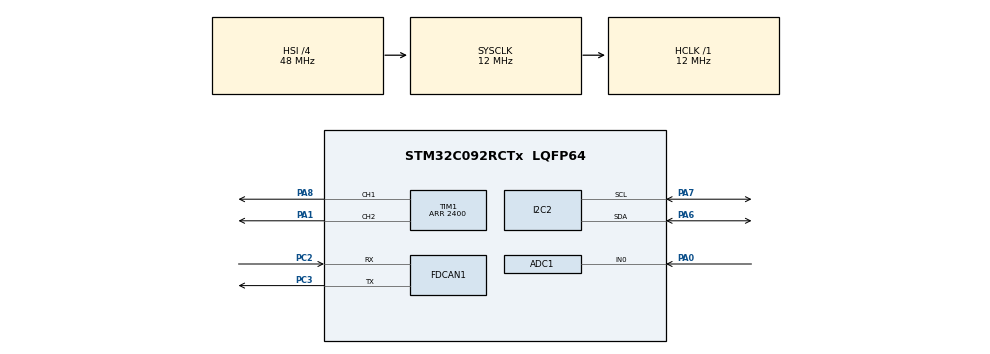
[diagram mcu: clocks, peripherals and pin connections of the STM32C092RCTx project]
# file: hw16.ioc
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ADC1.NbrOfConversionFlag=0
ADC1.SelectedChannel=ADC_CHANNEL_0
ADC1.master=1
FDCAN1.CalculateBaudRateNominal=250000
FDCAN1.CalculateTimeBitNominal=4000
FDCAN1.CalculateTimeQuantumNominal=1333.3333333333333
I2C2.Timing=0x00402D41
Mcu.Family=STM32C0
Mcu.Name=STM32C092RCTx
Mcu.Package=LQFP64
NUCLEO-C092RC.BUTTON=1
NUCLEO-C092RC.LD1=true
NUCLEO-C092RC.LD2=true
NUCLEO-C092RC.VCP=true
NVIC.EXTI4_15_IRQn=true\:0\:0\:false\:false\:true\:false\:true\:true
NVIC.TIM2_IRQn=true\:0\:0\:false\:false\:true\:true\:true\:true
PA0.Mode=IN0
PA0.Signal=ADC1_IN0
PA1.Signal=S_TIM1_CH2
PA13.GPIO_Label=SWDIO
PA13.Signal=DEBUG_SWDIO
PA14-BOOT0.GPIO_Label=SWCLK
PA14-BOOT0.Signal=DEBUG_SWCLK
PA2.Signal=USART2_TX
PA3.Signal=USART2_RX
PA6.Mode=I2C
PA6.Signal=I2C2_SDA
PA7.Mode=I2C
PA7.Signal=I2C2_SCL
PA8.Signal=S_TIM1_CH1
PC14-OSCX_IN(PC14).GPIO_Label=OSCX_IN
PC14-OSCX_IN(PC14).Signal=RCC_OSCX_IN
PC15-OSCX_OUT(PC15).GPIO_Label=OSCX_OUT
PC15-OSCX_OUT(PC15).Signal=RCC_OSCX_OUT
PC2.Mode=FDCAN_Activate
PC2.Signal=FDCAN1_RX
PC3.Mode=FDCAN_Activate
PC3.Signal=FDCAN1_TX
PF0-OSC_IN(PF0).GPIO_Label=OSC_IN
PF0-OSC_IN(PF0).Signal=RCC_OSC_IN
PF1-OSC_OUT(PF1).GPIO_Label=OSC_OUT
PF1-OSC_OUT(PF1).Signal=RCC_OSC_OUT
ProjectManager.HeapSize=0x200
ProjectManager.StackSize=0x400
ProjectManager.TargetToolchain=STM32CubeIDE
RCC.ADCFreq_Value=12000000
RCC.AHBFreq_Value=12000000
RCC.CortexFreq_Value=12000000
RCC.EXTERNAL_CLOCK_VALUE=12288000
RCC.HCLKFreq_Value=12000000
RCC.HSE_VALUE=8000000
RCC.HSI_VALUE=48000000
RCC.LSE_VALUE=32768
RCC.SYSCLKFreq_VALUE=12000000
SH.S_TIM1_CH1.0=TIM1_CH1,PWM Generation1 CH1
SH.S_TIM1_CH2.0=TIM1_CH2,PWM Generation2 CH2
TIM1.Channel-PWM\ Generation1\ CH1=TIM_CHANNEL_1
TIM1.Channel-PWM\ Generation2\ CH2=TIM_CHANNEL_2
TIM1.Period=2400
TIM2.Period=48000
VP_NUCLEO-C092RC_VS_BSP_COMMON.Mode=COMMON
VP_TIM2_VS_ClockSourceINT.Mode=Internal
board=NUCLEO-C092RC

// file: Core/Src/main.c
/* USER CODE BEGIN Header */
/**
  ******************************************************************************
  * @file           : main.c
  * @brief          : HW16 - RC Servo Current Control via PI Controller
  ******************************************************************************
  */
/* USER CODE END Header */

#include "main.h"
#include <stdio.h>
#include <stdlib.h>

/* USER CODE BEGIN PD */
#define INA219_ADDR           0x40
#define INA219_REG_CONFIG     0x00
#define INA219_REG_CALIBRATION 0x05
#define INA219_REG_CURRENT    0x04

#define NUM_SAMPLES           400
#define PWM_PERIOD            2400   // Counter period = 20kHz PWM
#define CURRENT_FLIP_PERIOD   100    // Flip desired current every 100 cycles
#define DESIRED_CURRENT_A     -300   // mA (initial direction)
#define DESIRED_CURRENT_B      300   // mA (flipped direction)

#define ADC_SAFETY_LOW        250
#define ADC_SAFETY_HIGH       (4095 - 250)

#define KP  -0.011f
#define KI  -0.008f
#define EINT_CLAMP 1000.0f
/* USER CODE END PD */

COM_InitTypeDef BspCOMInit;
ADC_HandleTypeDef hadc1;
FDCAN_HandleTypeDef hfdcan1;
I2C_HandleTypeDef hi2c2;
TIM_HandleTypeDef htim1;
TIM_HandleTypeDef htim2;

/* USER CODE BEGIN PV */
volatile int state = 0;

// Data logging arrays (populated in interrupt, printed in main)
volatile int index_data[NUM_SAMPLES];
volatile int desired_data[NUM_SAMPLES];
volatile int current_data[NUM_SAMPLES];
volatile int ui_data[NUM_SAMPLES];  // FIX: moved from local in callback to global
/* USER CODE END PV */

void SystemClock_Config(void);
static void MX_GPIO_Init(void);
static void MX_ADC1_Init(void);
static void MX_FDCAN1_Init(void);
static void MX_I2C2_Init(void);
static void MX_TIM1_Init(void);
static void MX_TIM2_Init(void);

/* USER CODE BEGIN PFP */
uint32_t read_adc(void);
void     writeINA219(int reg, int value);
signed short readINA219(unsigned char reg);
void     init_ina219(void);
float    read_ina219(void);
void     motor_off(void);
void     motor_set(int ui);
/* USER CODE END PFP */

/* USER CODE BEGIN 0 */

/* --- ADC ----------------------------------------------------------------- */
uint32_t read_adc(void)
{
    uint32_t raw = 0;
    HAL_ADC_Start(&hadc1);
    if (HAL_ADC_PollForConversion(&hadc1, 10) == HAL_OK)
        raw = HAL_ADC_GetValue(&hadc1);
    HAL_ADC_Stop(&hadc1);
    return raw;
}

/* --- INA219 I2C current sensor ------------------------------------------- */
void writeINA219(int reg, int value)
{
    uint8_t buf[3] = { reg, value >> 8, value & 0xFF };
    HAL_I2C_Master_Transmit(&hi2c2, INA219_ADDR << 1, buf, 3, 10);
}

signed short readINA219(unsigned char reg)
{
    uint8_t buffer[2] = {0};
    HAL_I2C_Master_Transmit(&hi2c2, INA219_ADDR << 1, &reg, 1, 10);
    HAL_I2C_Master_Receive(&hi2c2, INA219_ADDR << 1, buffer, 2, 10);
    return (signed short)((buffer[0] << 8) | buffer[1]);
}

void init_ina219(void)
{
    // 10-bit, +/-160mV range, 148us per sample
    writeINA219(INA219_REG_CALIBRATION, 1024);
    writeINA219(INA219_REG_CONFIG, 0b0011000010001111);
}

float read_ina219(void)
{
    // Returns current in milliamps
    return readINA219(INA219_REG_CURRENT) / 3.0f;
}

/* --- Motor helpers -------------------------------------------------------- */
void motor_off(void)
{
    // Both channels HIGH = motor off (no current through H-bridge)
    __HAL_TIM_SET_COMPARE(&htim1, TIM_CHANNEL_1, PWM_PERIOD);
    __HAL_TIM_SET_COMPARE(&htim1, TIM_CHANNEL_2, PWM_PERIOD);
}

void motor_set(int ui)
{
    // ui > 0: forward, ui < 0: reverse
    // One channel holds at 100% while the other varies
    // Never let both channels go low simultaneously
    if (ui > 0) {
        __HAL_TIM_SET_COMPARE(&htim1, TIM_CHANNEL_1, PWM_PERIOD - ui);
        __HAL_TIM_SET_COMPARE(&htim1, TIM_CHANNEL_2, PWM_PERIOD);
    } else {
        __HAL_TIM_SET_COMPARE(&htim1, TIM_CHANNEL_1, PWM_PERIOD);
        __HAL_TIM_SET_COMPARE(&htim1, TIM_CHANNEL_2, PWM_PERIOD + ui);
    }
}

/* --- TIM2 1kHz interrupt: PI current controller -------------------------- */
void HAL_TIM_PeriodElapsedCallback(TIM_HandleTypeDef *htim)
{
    if (htim != &htim2) return;

    static int   counter         = 0;
    static int   desired_current = DESIRED_CURRENT_A;
    static float eint            = 0.0f;

//    // Safety check: kill motor if ADC is out of range
//    uint32_t adc_val = read_adc();
//    if (adc_val < ADC_SAFETY_LOW || adc_val > ADC_SAFETY_HIGH)
//    {
//        motor_off();
//        return;
//    }

    if (state != 1) return;

    // Read current sensor
    signed short current = readINA219(INA219_REG_CURRENT);

    // PI controller
    float error = (float)(desired_current - current);
    eint += error;
    if (eint >  EINT_CLAMP) eint =  EINT_CLAMP;
    if (eint < -EINT_CLAMP) eint = -EINT_CLAMP;

    float uf = KP * error + KI * eint;
    int   ui = (int)(uf / 125.0f * PWM_PERIOD);
    if (ui >  PWM_PERIOD) ui =  PWM_PERIOD;
    if (ui < -PWM_PERIOD) ui = -PWM_PERIOD;

    motor_set(ui);

    // Log data
    index_data[counter]   = counter;
    desired_data[counter] = desired_current;
    current_data[counter] = (int)current;
    ui_data[counter]      = ui;

    counter++;

    // Flip desired current every CURRENT_FLIP_PERIOD cycles
    if      (counter == CURRENT_FLIP_PERIOD)     desired_current = DESIRED_CURRENT_B;
    else if (counter == CURRENT_FLIP_PERIOD * 2) desired_current = DESIRED_CURRENT_A;
    else if (counter == CURRENT_FLIP_PERIOD * 3) desired_current = DESIRED_CURRENT_B;

    // Done after NUM_SAMPLES cycles
    if (counter >= NUM_SAMPLES)
    {
        motor_off();
        counter         = 0;
        desired_current = DESIRED_CURRENT_A;
        eint            = 0.0f;
        state           = 0;  // Signal main loop to print data
    }
}

/* USER CODE END 0 */

int main(void)
{

    HAL_Init();

    SystemClock_Config();

    MX_GPIO_Init();
    MX_ADC1_Init();
    MX_FDCAN1_Init();
    MX_I2C2_Init();
    MX_TIM1_Init();
    MX_TIM2_Init();

    /* USER CODE BEGIN 2 */
    init_ina219();

    // Start PWM (both channels high = motor off initially)
    motor_off();
    HAL_TIM_PWM_Start(&htim1, TIM_CHANNEL_1);
    HAL_TIM_PWM_Start(&htim1, TIM_CHANNEL_2);

    // Start 1kHz TIM2 interrupt
    HAL_TIM_Base_Start_IT(&htim2);
    /* USER CODE END 2 */

    // Init LEDs, button, and UART
    BSP_LED_Init(LED_GREEN);
    BSP_LED_Init(LED_BLUE);
    BSP_PB_Init(BUTTON_USER, BUTTON_MODE_EXTI);

    BspCOMInit.BaudRate   = 115200;
    BspCOMInit.WordLength = COM_WORDLENGTH_8B;
    BspCOMInit.StopBits   = COM_STOPBITS_1;
    BspCOMInit.Parity     = COM_PARITY_NONE;
    BspCOMInit.HwFlowCtl  = COM_HWCONTROL_NONE;
    if (BSP_COM_Init(COM1, &BspCOMInit) != BSP_ERROR_NONE)
        Error_Handler();

    printf("Program started\r\n");

    /* USER CODE BEGIN WHILE */
    while (1)
    {
        // Wait for user to send 'a' over serial
        uint8_t c = 0;
        HAL_UART_Receive(&hcom_uart[COM1], &c, 1, HAL_MAX_DELAY);
        printf("Received: %c\r\n", c);

        if (c == 'a')
        {
            printf("Starting controller\r\n");
            state = 1;
            while (state == 1)
            {
            }
            printf("Done, printing data\r\n");
            for (int i = 0; i < NUM_SAMPLES; i++)
            {
                printf("%d %d %d %d\r\n", index_data[i], desired_data[i], current_data[i], ui_data[i]);
            }
        }

    }
}

/* --------------------------------------------------------------------------
 * Auto-generated peripheral init functions below - do not modify
 * -------------------------------------------------------------------------- */

void SystemClock_Config(void)
{
    RCC_OscInitTypeDef RCC_OscInitStruct = {0};
    RCC_ClkInitTypeDef RCC_ClkInitStruct = {0};

    __HAL_FLASH_SET_LATENCY(FLASH_LATENCY_0);

    RCC_OscInitStruct.OscillatorType      = RCC_OSCILLATORTYPE_HSI;
    RCC_OscInitStruct.HSIState            = RCC_HSI_ON;
    RCC_OscInitStruct.HSIDiv              = RCC_HSI_DIV4;
    RCC_OscInitStruct.HSICalibrationValue = RCC_HSICALIBRATION_DEFAULT;
    if (HAL_RCC_OscConfig(&RCC_OscInitStruct) != HAL_OK) Error_Handler();

    RCC_ClkInitStruct.ClockType      = RCC_CLOCKTYPE_HCLK | RCC_CLOCKTYPE_SYSCLK | RCC_CLOCKTYPE_PCLK1;
    RCC_ClkInitStruct.SYSCLKSource   = RCC_SYSCLKSOURCE_HSI;
    RCC_ClkInitStruct.SYSCLKDivider  = RCC_SYSCLK_DIV1;
    RCC_ClkInitStruct.AHBCLKDivider  = RCC_HCLK_DIV1;
    RCC_ClkInitStruct.APB1CLKDivider = RCC_APB1_DIV1;
    if (HAL_RCC_ClockConfig(&RCC_ClkInitStruct, FLASH_LATENCY_0) != HAL_OK) Error_Handler();
}

static void MX_ADC1_Init(void)
{
    ADC_ChannelConfTypeDef sConfig = {0};

    hadc1.Instance                   = ADC1;
    hadc1.Init.ClockPrescaler        = ADC_CLOCK_SYNC_PCLK_DIV1;
    hadc1.Init.Resolution            = ADC_RESOLUTION_12B;
    hadc1.Init.DataAlign             = ADC_DATAALIGN_RIGHT;
    hadc1.Init.ScanConvMode          = ADC_SCAN_SEQ_FIXED;
    hadc1.Init.EOCSelection          = ADC_EOC_SINGLE_CONV;
    hadc1.Init.LowPowerAutoWait      = DISABLE;
    hadc1.Init.LowPowerAutoPowerOff  = DISABLE;
    hadc1.Init.ContinuousConvMode    = DISABLE;
    hadc1.Init.NbrOfConversion       = 1;
    hadc1.Init.DiscontinuousConvMode = DISABLE;
    hadc1.Init.ExternalTrigConv      = ADC_SOFTWARE_START;
    hadc1.Init.ExternalTrigConvEdge  = ADC_EXTERNALTRIGCONVEDGE_NONE;
    hadc1.Init.DMAContinuousRequests = DISABLE;
    hadc1.Init.Overrun               = ADC_OVR_DATA_PRESERVED;
    hadc1.Init.SamplingTimeCommon1   = ADC_SAMPLETIME_1CYCLE_5;
    hadc1.Init.OversamplingMode      = DISABLE;
    hadc1.Init.TriggerFrequencyMode  = ADC_TRIGGER_FREQ_HIGH;
    if (HAL_ADC_Init(&hadc1) != HAL_OK) Error_Handler();

    sConfig.Channel = ADC_CHANNEL_0;
    sConfig.Rank    = ADC_RANK_CHANNEL_NUMBER;
    if (HAL_ADC_ConfigChannel(&hadc1, &sConfig) != HAL_OK) Error_Handler();
}

static void MX_FDCAN1_Init(void)
{
    hfdcan1.Instance                  = FDCAN1;
    hfdcan1.Init.ClockDivider         = FDCAN_CLOCK_DIV1;
    hfdcan1.Init.FrameFormat          = FDCAN_FRAME_CLASSIC;
    hfdcan1.Init.Mode                 = FDCAN_MODE_NORMAL;
    hfdcan1.Init.AutoRetransmission   = DISABLE;
    hfdcan1.Init.TransmitPause        = DISABLE;
    hfdcan1.Init.ProtocolException    = DISABLE;
    hfdcan1.Init.NominalPrescaler     = 16;
    hfdcan1.Init.NominalSyncJumpWidth = 1;
    hfdcan1.Init.NominalTimeSeg1      = 1;
    hfdcan1.Init.NominalTimeSeg2      = 1;
    hfdcan1.Init.DataPrescaler        = 1;
    hfdcan1.Init.DataSyncJumpWidth    = 1;
    hfdcan1.Init.DataTimeSeg1         = 1;
    hfdcan1.Init.DataTimeSeg2         = 1;
    hfdcan1.Init.StdFiltersNbr        = 0;
    hfdcan1.Init.ExtFiltersNbr        = 0;
    hfdcan1.Init.TxFifoQueueMode      = FDCAN_TX_FIFO_OPERATION;
    if (HAL_FDCAN_Init(&hfdcan1) != HAL_OK) Error_Handler();
}

static void MX_I2C2_Init(void)
{
    hi2c2.Instance              = I2C2;
    hi2c2.Init.Timing           = 0x00402D41;
    hi2c2.Init.OwnAddress1      = 0;
    hi2c2.Init.AddressingMode   = I2C_ADDRESSINGMODE_7BIT;
    hi2c2.Init.DualAddressMode  = I2C_DUALADDRESS_DISABLE;
    hi2c2.Init.OwnAddress2      = 0;
    hi2c2.Init.OwnAddress2Masks = I2C_OA2_NOMASK;
    hi2c2.Init.GeneralCallMode  = I2C_GENERALCALL_DISABLE;
    hi2c2.Init.NoStretchMode    = I2C_NOSTRETCH_DISABLE;
    if (HAL_I2C_Init(&hi2c2) != HAL_OK) Error_Handler();
    if (HAL_I2CEx_ConfigAnalogFilter(&hi2c2, I2C_ANALOGFILTER_ENABLE) != HAL_OK) Error_Handler();
    if (HAL_I2CEx_ConfigDigitalFilter(&hi2c2, 0) != HAL_OK) Error_Handler();
}

static void MX_TIM1_Init(void)
{
    TIM_MasterConfigTypeDef      sMasterConfig      = {0};
    TIM_OC_InitTypeDef           sConfigOC          = {0};
    TIM_BreakDeadTimeConfigTypeDef sBreakDeadTimeConfig = {0};

    htim1.Instance               = TIM1;
    htim1.Init.Prescaler         = 0;
    htim1.Init.CounterMode       = TIM_COUNTERMODE_UP;
    htim1.Init.Period            = PWM_PERIOD;
    htim1.Init.ClockDivision     = TIM_CLOCKDIVISION_DIV1;
    htim1.Init.RepetitionCounter = 0;
    htim1.Init.AutoReloadPreload = TIM_AUTORELOAD_PRELOAD_DISABLE;
    if (HAL_TIM_PWM_Init(&htim1) != HAL_OK) Error_Handler();

    sMasterConfig.MasterOutputTrigger  = TIM_TRGO_RESET;
    sMasterConfig.MasterOutputTrigger2 = TIM_TRGO2_RESET;
    sMasterConfig.MasterSlaveMode      = TIM_MASTERSLAVEMODE_DISABLE;
    if (HAL_TIMEx_MasterConfigSynchronization(&htim1, &sMasterConfig) != HAL_OK) Error_Handler();

    sConfigOC.OCMode       = TIM_OCMODE_PWM1;
    sConfigOC.Pulse        = 0;
    sConfigOC.OCPolarity   = TIM_OCPOLARITY_HIGH;
    sConfigOC.OCNPolarity  = TIM_OCNPOLARITY_HIGH;
    sConfigOC.OCFastMode   = TIM_OCFAST_DISABLE;
    sConfigOC.OCIdleState  = TIM_OCIDLESTATE_RESET;
    sConfigOC.OCNIdleState = TIM_OCNIDLESTATE_RESET;
    if (HAL_TIM_PWM_ConfigChannel(&htim1, &sConfigOC, TIM_CHANNEL_1) != HAL_OK) Error_Handler();
    if (HAL_TIM_PWM_ConfigChannel(&htim1, &sConfigOC, TIM_CHANNEL_2) != HAL_OK) Error_Handler();

    sBreakDeadTimeConfig.OffStateRunMode  = TIM_OSSR_DISABLE;
    sBreakDeadTimeConfig.OffStateIDLEMode = TIM_OSSI_DISABLE;
    sBreakDeadTimeConfig.LockLevel        = TIM_LOCKLEVEL_OFF;
    sBreakDeadTimeConfig.DeadTime         = 0;
    sBreakDeadTimeConfig.BreakState       = TIM_BREAK_DISABLE;
    sBreakDeadTimeConfig.BreakPolarity    = TIM_BREAKPOLARITY_HIGH;
    sBreakDeadTimeConfig.BreakFilter      = 0;
    sBreakDeadTimeConfig.BreakAFMode      = TIM_BREAK_AFMODE_INPUT;
    sBreakDeadTimeConfig.Break2State      = TIM_BREAK2_DISABLE;
    sBreakDeadTimeConfig.Break2Polarity   = TIM_BREAK2POLARITY_HIGH;
    sBreakDeadTimeConfig.Break2Filter     = 0;
    sBreakDeadTimeConfig.Break2AFMode     = TIM_BREAK_AFMODE_INPUT;
    sBreakDeadTimeConfig.AutomaticOutput  = TIM_AUTOMATICOUTPUT_DISABLE;
    if (HAL_TIMEx_ConfigBreakDeadTime(&htim1, &sBreakDeadTimeConfig) != HAL_OK) Error_Handler();

    HAL_TIM_MspPostInit(&htim1);
}

static void MX_TIM2_Init(void)
{
    TIM_ClockConfigTypeDef  sClockSourceConfig = {0};
    TIM_MasterConfigTypeDef sMasterConfig      = {0};

    htim2.Instance               = TIM2;
    htim2.Init.Prescaler         = 0;
    htim2.Init.CounterMode       = TIM_COUNTERMODE_UP;
    htim2.Init.Period            = 48000;
    htim2.Init.ClockDivision     = TIM_CLOCKDIVISION_DIV1;
    htim2.Init.AutoReloadPreload = TIM_AUTORELOAD_PRELOAD_DISABLE;
    if (HAL_TIM_Base_Init(&htim2) != HAL_OK) Error_Handler();

    sClockSourceConfig.ClockSource = TIM_CLOCKSOURCE_INTERNAL;
    if (HAL_TIM_ConfigClockSource(&htim2, &sClockSourceConfig) != HAL_OK) Error_Handler();

    sMasterConfig.MasterOutputTrigger = TIM_TRGO_RESET;
    sMasterConfig.MasterSlaveMode     = TIM_MASTERSLAVEMODE_DISABLE;
    if (HAL_TIMEx_MasterConfigSynchronization(&htim2, &sMasterConfig) != HAL_OK) Error_Handler();
}

static void MX_GPIO_Init(void)
{
    __HAL_RCC_GPIOC_CLK_ENABLE();
    __HAL_RCC_GPIOF_CLK_ENABLE();
    __HAL_RCC_GPIOA_CLK_ENABLE();
}

void Error_Handler(void)
{
    __disable_irq();
    while (1) {}
}
